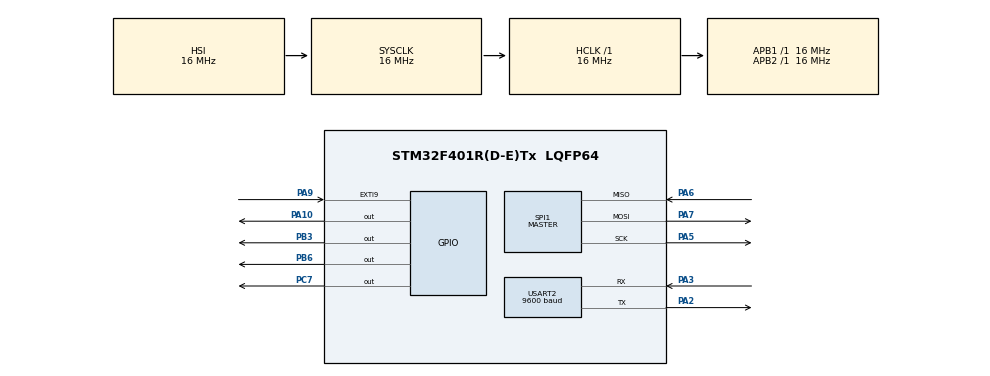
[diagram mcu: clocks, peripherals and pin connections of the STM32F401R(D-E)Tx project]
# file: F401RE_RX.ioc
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Mcu.Family=STM32F4
Mcu.Name=STM32F401R(D-E)Tx
Mcu.Package=LQFP64
NVIC.EXTI9_5_IRQn=true\:0\:0\:false\:false\:true\:true\:true\:true
NVIC.PriorityGroup=NVIC_PRIORITYGROUP_4
PA10.Signal=GPIO_Output
PA2.Mode=Asynchronous
PA2.Signal=USART2_TX
PA3.Mode=Asynchronous
PA3.Signal=USART2_RX
PA5.Mode=Full_Duplex_Master
PA5.Signal=SPI1_SCK
PA6.Mode=Full_Duplex_Master
PA6.Signal=SPI1_MISO
PA7.Mode=Full_Duplex_Master
PA7.Signal=SPI1_MOSI
PA9.GPIO_ModeDefaultEXTI=GPIO_MODE_IT_FALLING
PA9.Signal=GPXTI9
PB3.Signal=GPIO_Output
PB6.Signal=GPIO_Output
PC7.Signal=GPIO_Output
ProjectManager.HeapSize=0x200
ProjectManager.StackSize=0x400
ProjectManager.TargetToolchain=STM32CubeIDE
RCC.AHBFreq_Value=16000000
RCC.APB1Freq_Value=16000000
RCC.APB2Freq_Value=16000000
RCC.CortexFreq_Value=16000000
RCC.HSE_VALUE=25000000
RCC.HSI_VALUE=16000000
RCC.LSE_VALUE=32768
RCC.SYSCLKFreq_VALUE=16000000
RCC.VCOOutputFreq_Value=192000000
SPI1.Direction=SPI_DIRECTION_2LINES
SPI1.Mode=SPI_MODE_MASTER
SPI1.VirtualType=VM_MASTER
USART2.BaudRate=9600
USART2.VirtualMode=VM_ASYNC
board=custom

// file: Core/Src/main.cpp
/* USER CODE BEGIN Header */
/**
  ******************************************************************************
  * @file           : main.c
  * @brief          : Main program body
  ******************************************************************************
  * @attention
  *
  * Copyright (c) 2025 STMicroelectronics.
  * All rights reserved.
  *
  * This software is licensed under terms that can be found in the LICENSE file
  * in the root directory of this software component.
  * If no LICENSE file comes with this software, it is provided AS-IS.
  *
  ******************************************************************************
  */
/* USER CODE END Header */
#include "main.h"
#include "spi.h"
#include "usart.h"
#include "gpio.h"

/* USER CODE BEGIN Includes */
#include <cstdio>
#include <stdio.h>
#include "nrf2401.hpp"
/* USER CODE END Includes */

/* USER CODE BEGIN PD */
constexpr uint8_t detection_distance_cm = 20;
/* USER CODE END PD */

void SystemClock_Config(void);

int main(void)
{

  /* MCU Configuration--------------------------------------------------------*/

  /* Reset of all peripherals, Initializes the Flash interface and the Systick. */
  HAL_Init();

  /* Configure the system clock */
  SystemClock_Config();

  /* Initialize all configured peripherals */
  MX_GPIO_Init();
  MX_USART2_UART_Init();
  MX_SPI1_Init();
  /* USER CODE BEGIN 2 */

  uint8_t rx_addr[5] = {0x34, 0x35, 0xF0, 0xD3, 0xE4};
  rf_module.nrf_init(2500, MBPS_ONE, FIVE_BYTES);
  rf_module.setup_rx_mode(rx_addr, 5, 0, 5);

  HAL_GPIO_WritePin(GPIOB, GPIO_PIN_3, GPIO_PIN_RESET);
  HAL_GPIO_WritePin(GPIOA, GPIO_PIN_10, GPIO_PIN_RESET);

  uint8_t motion_detection_information[5] = {0, 0, 0, 0, 0};
  uint8_t status_register_byte = 0;

  uint8_t rx_dr_irq = (1 << 6);
  uint8_t tx_ds_irq = (1 << 5);
  uint8_t max_rt_irq = (1 << 4);

  /* USER CODE END 2 */

  /* Infinite loop */
  /* USER CODE BEGIN WHILE */
  while (1)
  {
	  if (rx_data_received) {
		  rf_module.read_register(status_reg, &status_register_byte, 1);
		  if (status_register_byte & rx_dr_irq) { 	//data is ready.
			  rf_module.receive_data_from_rx_fifo(motion_detection_information);
			  status_register_byte |= rx_dr_irq;
		  }

		  if (status_register_byte & tx_ds_irq) {
			  status_register_byte |= tx_ds_irq; //TX_DS clear
		  } else if (status_register_byte & max_rt_irq) {
			  status_register_byte |= max_rt_irq;
		  }
		  rf_module.write_register(status_reg, &status_register_byte, 1);

		  uint8_t upper_distance_byte = motion_detection_information[4];
		  uint8_t lower_distance_byte = motion_detection_information[3];

		  uint16_t distance_cm = (upper_distance_byte << 8) + lower_distance_byte;
		  uint8_t hours = motion_detection_information[2];
		  uint8_t minutes = motion_detection_information[1];
		  uint8_t seconds = motion_detection_information[0];

		  printf("Motion was detected at around: %d hours : %d minutes : %d seconds\n", hours,
				  minutes, seconds);

		  printf("The distance is %d\n", distance_cm);

		  if (distance_cm < detection_distance_cm) {
			  HAL_GPIO_WritePin(GPIOB, GPIO_PIN_3, GPIO_PIN_SET);
		  } else {
			  HAL_GPIO_WritePin(GPIOB, GPIO_PIN_3, GPIO_PIN_RESET);
		  }

		  rx_data_received = 0;
	  }

	  HAL_Delay(10);
    /* USER CODE END WHILE */

  }
}

void SystemClock_Config(void)
{
  RCC_OscInitTypeDef RCC_OscInitStruct = {0};
  RCC_ClkInitTypeDef RCC_ClkInitStruct = {0};

  /** Configure the main internal regulator output voltage
  */
  __HAL_RCC_PWR_CLK_ENABLE();
  __HAL_PWR_VOLTAGESCALING_CONFIG(PWR_REGULATOR_VOLTAGE_SCALE2);

  /** Initializes the RCC Oscillators according to the specified parameters
  * in the RCC_OscInitTypeDef structure.
  */
  RCC_OscInitStruct.OscillatorType = RCC_OSCILLATORTYPE_HSI;
  RCC_OscInitStruct.HSIState = RCC_HSI_ON;
  RCC_OscInitStruct.HSICalibrationValue = RCC_HSICALIBRATION_DEFAULT;
  RCC_OscInitStruct.PLL.PLLState = RCC_PLL_NONE;
  if (HAL_RCC_OscConfig(&RCC_OscInitStruct) != HAL_OK)
  {
    Error_Handler();
  }

  /** Initializes the CPU, AHB and APB buses clocks
  */
  RCC_ClkInitStruct.ClockType = RCC_CLOCKTYPE_HCLK|RCC_CLOCKTYPE_SYSCLK
                              |RCC_CLOCKTYPE_PCLK1|RCC_CLOCKTYPE_PCLK2;
  RCC_ClkInitStruct.SYSCLKSource = RCC_SYSCLKSOURCE_HSI;
  RCC_ClkInitStruct.AHBCLKDivider = RCC_SYSCLK_DIV1;
  RCC_ClkInitStruct.APB1CLKDivider = RCC_HCLK_DIV1;
  RCC_ClkInitStruct.APB2CLKDivider = RCC_HCLK_DIV1;

  if (HAL_RCC_ClockConfig(&RCC_ClkInitStruct, FLASH_LATENCY_0) != HAL_OK)
  {
    Error_Handler();
  }
}

/* USER CODE BEGIN 4 */
//void HAL_GPIO_EXTI_Callback(uint16_t GPIO_Pin)
//{
//	if(GPIO_Pin == GPIO_PIN_9) {
//		if (rf_module.get_operating_mode() == true) { //tx mode
//			tx_interrupt = 1;
//		} else {						//false
//			rx_data_received = 1;
//		}
//	}
//}
/* USER CODE END 4 */

void Error_Handler(void)
{
  __disable_irq();
  while (1)
  {
  }
}
